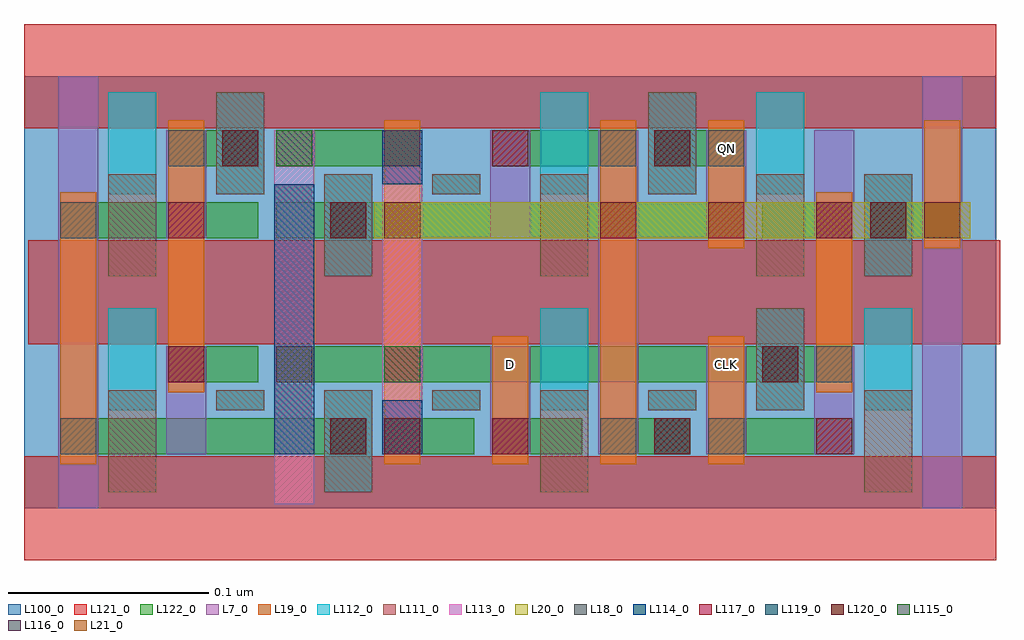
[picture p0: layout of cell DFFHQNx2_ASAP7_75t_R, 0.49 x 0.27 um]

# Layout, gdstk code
import gdstk
lib = gdstk.Library(unit=1e-6, precision=2.5e-10)
def R(c, l, rs):  # rectangles x0, y0, x1, y1
    for r in rs: c.add(gdstk.rectangle(r[:2], r[2:], *l))
def A(c, l, x, y, w, h, nx, ny, dx, dy):  # array of equal rectangles
    R(c, l, [(x+i*dx, y+j*dy, x+i*dx+w, y+j*dy+h) for i in range(nx) for j in range(ny)])
L7_0 = (7, 0)
L18_0 = (18, 0)
L19_0 = (19, 0)
L20_0 = (20, 0)
L21_0 = (21, 0)
L100_0 = (100, 0)
L111_0 = (111, 0)
L112_0 = (112, 0)
L113_0 = (113, 0)
L114_0 = (114, 0)
L115_0 = (115, 0)
L116_0 = (116, 0)
L117_0 = (117, 0)
L119_0 = (119, 0)
L120_0 = (120, 0)
L121_0 = (121, 0)
L122_0 = (122, 0)

dffhqnx2_asap7_75t_r = lib.new_cell('DFFHQNx2_ASAP7_75t_R')
R(dffhqnx2_asap7_75t_r, L7_0, [(0.017,0,0.037,0.108), (0.449,0,0.469,0.108), (0.071,0.027,0.091,0.081), (0.233,0.027,0.253,0.081), (0.287,0.027,0.307,0.108), (0.341,0.027,0.361,0.081), (0.395,0.027,0.415,0.081), (0.017,0.108,0.037,0.216), (0.287,0.108,0.307,0.189), (0.449,0.108,0.469,0.216), (0.071,0.135,0.091,0.189), (0.233,0.135,0.253,0.189), (0.341,0.135,0.361,0.189), (0.395,0.135,0.415,0.189)])
A(dffhqnx2_asap7_75t_r, L18_0, 0.18, 0.027, 0.018, 0.018, 4, 1, 0.054, 0)
A(dffhqnx2_asap7_75t_r, L18_0, 0.072, 0.171, 0.018, 0.018, 3, 1, 0.108, 0)
R(dffhqnx2_asap7_75t_r, L18_0, [(0.018,0.027,0.036,0.045), (0.072,0.063,0.09,0.081), (0.396,0.063,0.414,0.081), (0.018,0.135,0.036,0.153), (0.396,0.135,0.414,0.153), (0.45,0.135,0.468,0.153), (0.342,0.171,0.36,0.189)])
R(dffhqnx2_asap7_75t_r, L19_0, [(0.018,0.022,0.036,0.158), (0.18,0.022,0.198,0.194), (0.234,0.022,0.252,0.086), (0.288,0.022,0.306,0.194), (0.342,0.022,0.36,0.086), (0.072,0.058,0.09,0.194), (0.396,0.058,0.414,0.158), (0.342,0.13,0.36,0.194), (0.45,0.13,0.468,0.194)])
R(dffhqnx2_asap7_75t_r, L20_0, [(0.175,0.135,0.473,0.153)])
R(dffhqnx2_asap7_75t_r, L21_0, [(0.18,0.135,0.198,0.153), (0.45,0.135,0.468,0.153)])
R(dffhqnx2_asap7_75t_r, L100_0, [(0,0,0.486,0.216)])
A(dffhqnx2_asap7_75t_r, L111_0, 0.042, 0.008, 0.024, 0.051, 3, 1, 0.108, 0)
A(dffhqnx2_asap7_75t_r, L111_0, 0.096, 0.049, 0.024, 0.01, 3, 1, 0.108, 0)
A(dffhqnx2_asap7_75t_r, L111_0, 0.042, 0.116, 0.024, 0.051, 4, 1, 0.108, 0)
R(dffhqnx2_asap7_75t_r, L111_0, [(0.42,0.008,0.444,0.059), (0.366,0.049,0.39,0.1), (0.42,0.116,0.444,0.167), (0.096,0.157,0.12,0.208), (0.204,0.157,0.228,0.167), (0.312,0.157,0.336,0.208)])
A(dffhqnx2_asap7_75t_r, L112_0, 0.096, 0.049, 0.024, 0.01, 3, 1, 0.108, 0)
A(dffhqnx2_asap7_75t_r, L112_0, 0.258, 0.157, 0.024, 0.051, 3, 1, 0.054, 0)
R(dffhqnx2_asap7_75t_r, L112_0, [(0.15,0.008,0.174,0.059), (0.042,0.049,0.066,0.1), (0.258,0.049,0.282,0.1), (0.366,0.049,0.39,0.1), (0.42,0.049,0.444,0.1), (0.15,0.116,0.174,0.167), (0.42,0.116,0.444,0.167), (0.042,0.157,0.066,0.208), (0.096,0.157,0.12,0.208), (0.204,0.157,0.228,0.167)])
R(dffhqnx2_asap7_75t_r, L113_0, [(0.125,0.002,0.145,0.108), (0.179,0.027,0.199,0.108), (0.125,0.108,0.145,0.189), (0.179,0.108,0.199,0.189)])
R(dffhqnx2_asap7_75t_r, L114_0, [(0.125,0.027,0.145,0.108), (0.179,0.027,0.199,0.054), (0.125,0.108,0.145,0.162), (0.179,0.162,0.199,0.189)])
R(dffhqnx2_asap7_75t_r, L115_0, [(0.18,0.063,0.198,0.081), (0.126,0.171,0.144,0.189)])
R(dffhqnx2_asap7_75t_r, L116_0, [(0.126,0.063,0.144,0.081), (0.18,0.171,0.198,0.189)])
A(dffhqnx2_asap7_75t_r, L117_0, 0.288, 0.135, 0.018, 0.018, 3, 1, 0.054, 0)
R(dffhqnx2_asap7_75t_r, L117_0, [(0.18,0.027,0.198,0.045), (0.234,0.027,0.252,0.045), (0.396,0.027,0.414,0.045), (0.072,0.063,0.09,0.081), (0.072,0.135,0.09,0.153), (0.234,0.171,0.252,0.189)])
R(dffhqnx2_asap7_75t_r, L119_0, [(0.153,0.027,0.171,0.045), (0.315,0.027,0.333,0.045), (0.369,0.063,0.387,0.081), (0.153,0.135,0.171,0.153), (0.423,0.135,0.441,0.153), (0.099,0.171,0.117,0.189), (0.315,0.171,0.333,0.189)])
R(dffhqnx2_asap7_75t_r, L120_0, [(0.153,0.027,0.171,0.045), (0.315,0.027,0.333,0.045), (0.369,0.063,0.387,0.081), (0.153,0.135,0.171,0.153), (0.423,0.135,0.441,0.153), (0.099,0.171,0.117,0.189), (0.315,0.171,0.333,0.189)])
R(dffhqnx2_asap7_75t_r, L121_0, [(0,-0.026,0.486,0.026), (0.002,0.082,0.488,0.134), (0,0.19,0.486,0.242)])
A(dffhqnx2_asap7_75t_r, L122_0, 0.18, 0.027, 0.045, 0.018, 3, 1, 0.054, 0)
R(dffhqnx2_asap7_75t_r, L122_0, [(0.018,0.027,0.171,0.045), (0.342,0.027,0.414,0.045), (0.072,0.063,0.117,0.081), (0.126,0.063,0.414,0.081), (0.018,0.135,0.117,0.153), (0.126,0.135,0.36,0.153), (0.369,0.135,0.414,0.153), (0.423,0.135,0.468,0.153), (0.072,0.171,0.117,0.189), (0.126,0.171,0.198,0.189), (0.234,0.171,0.306,0.189), (0.315,0.171,0.36,0.189)])
dffhqnx2_asap7_75t_r.add(gdstk.Label('QN', (0.351,0.18), layer=19, texttype=251))
dffhqnx2_asap7_75t_r.add(gdstk.Label('D', (0.243,0.072), layer=19, texttype=251))
dffhqnx2_asap7_75t_r.add(gdstk.Label('CLK', (0.351,0.072), layer=19, texttype=251))

lib.write_gds('DFFHQNx2_ASAP7_75t_R.gds')
